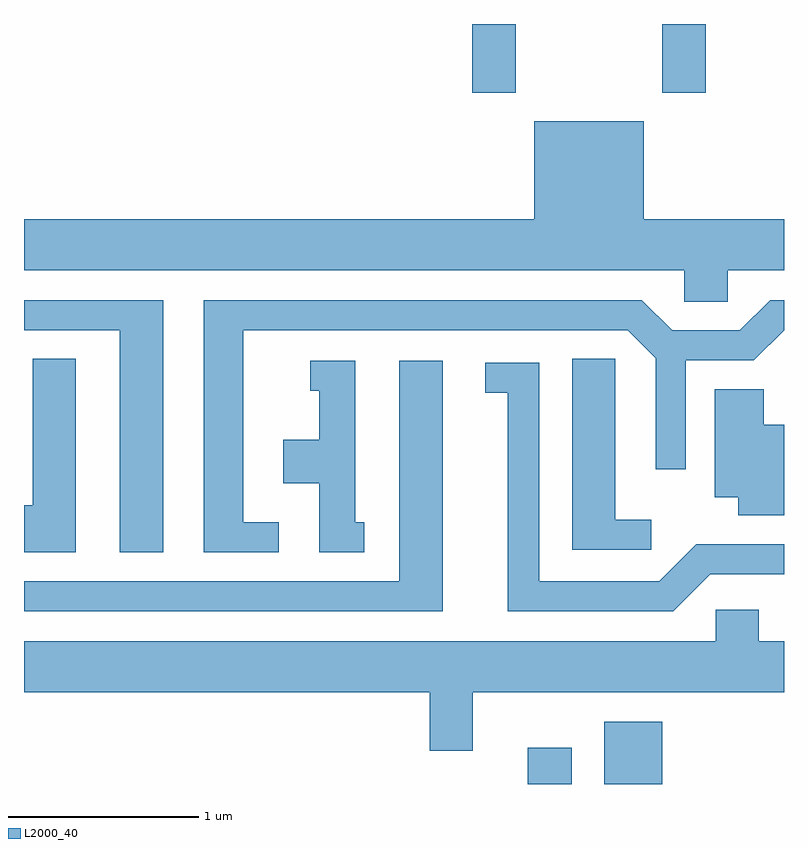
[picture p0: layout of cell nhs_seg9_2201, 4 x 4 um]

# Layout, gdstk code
import gdstk
lib = gdstk.Library(unit=1e-6, precision=1e-09)
def R(c, l, rs):  # rectangles x0, y0, x1, y1
    for r in rs: c.add(gdstk.rectangle(r[:2], r[2:], *l))
def P(c, l, *ps):  # polygons
    for p in ps: c.add(gdstk.Polygon(p, *l))
L2000_40 = (2000, 40)

nhs_seg9_2201 = lib.new_cell('nhs_seg9_2201')
R(nhs_seg9_2201, L2000_40, [(252.261,2002.432,252.494,2002.624), (252.666,2002.432,252.969,2002.759), (251.971,2006.071,252.199,2006.432), (252.971,2006.071,253.199,2006.432)])
P(nhs_seg9_2201, L2000_40, [(253.314,2005.136),(253.611,2005.136),(253.611,2005.404),(252.874,2005.404),(252.874,2005.919),(252.296,2005.919),(252.296,2005.404),(249.611,2005.404),(249.611,2005.136),(253.086,2005.136),(253.086,2004.971),(253.314,2004.971)],
  [(250.953,2003.809),(250.764,2003.809),(250.764,2004.821),(252.789,2004.821),(252.936,2004.674),(252.936,2004.088),(253.094,2004.088),(253.094,2004.661),(253.452,2004.661),(253.611,2004.82),(253.611,2004.979),(253.539,2004.979),(253.379,2004.819),(253.022,2004.819),(252.862,2004.979),(250.556,2004.979),(250.556,2003.651),(250.953,2003.651)],
  [(250.344,2004.979),(249.611,2004.979),(249.611,2004.821),(250.116,2004.821),(250.116,2003.651),(250.344,2003.651)],
  [(249.884,2004.669),(249.656,2004.669),(249.656,2003.899),(249.611,2003.899),(249.611,2003.651),(249.884,2003.651)],
  [(252.913,2003.824),(252.724,2003.824),(252.724,2004.669),(252.496,2004.669),(252.496,2003.666),(252.913,2003.666)],
  [(251.403,2003.809),(251.354,2003.809),(251.354,2004.659),(251.118,2004.659),(251.118,2004.501),(251.166,2004.501),(251.166,2004.244),(250.976,2004.244),(250.976,2004.016),(251.166,2004.016),(251.166,2003.651),(251.403,2003.651)],
  [(251.814,2004.659),(251.586,2004.659),(251.586,2003.499),(249.611,2003.499),(249.611,2003.341),(251.814,2003.341)],
  [(253.222,2003.536),(253.611,2003.536),(253.611,2003.694),(253.149,2003.694),(252.954,2003.499),(252.324,2003.499),(252.324,2004.649),(252.038,2004.649),(252.038,2004.491),(252.156,2004.491),(252.156,2003.341),(253.027,2003.341)],
  [(253.611,2004.324),(253.504,2004.324),(253.504,2004.509),(253.246,2004.509),(253.246,2003.941),(253.371,2003.941),(253.371,2003.846),(253.611,2003.846)],
  [(251.974,2002.916),(253.611,2002.916),(253.611,2003.184),(253.479,2003.184),(253.479,2003.349),(253.251,2003.349),(253.251,2003.184),(249.611,2003.184),(249.611,2002.916),(251.746,2002.916),(251.746,2002.606),(251.974,2002.606)])

lib.write_gds('nhs_seg9_2201.gds')
